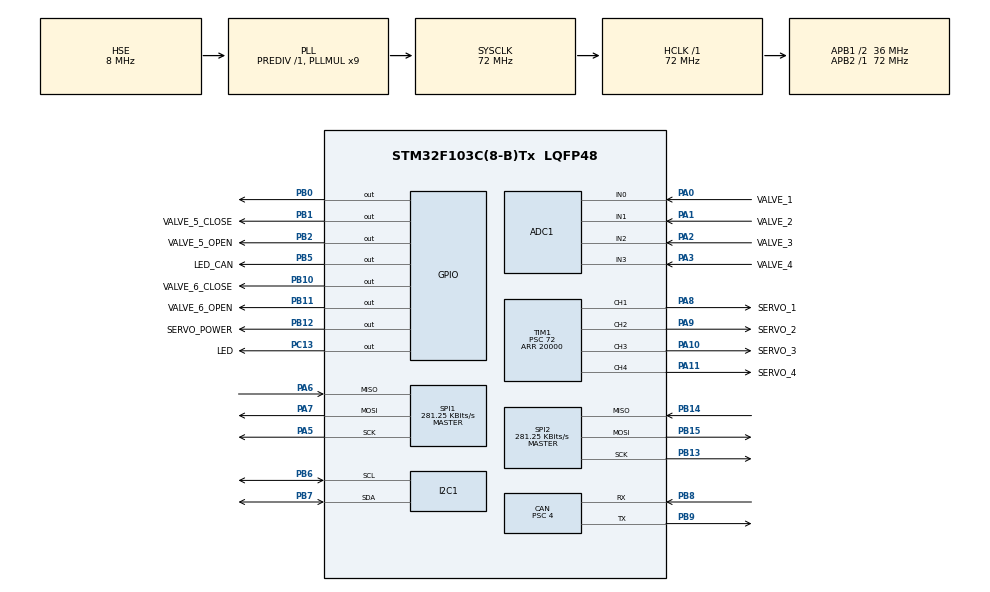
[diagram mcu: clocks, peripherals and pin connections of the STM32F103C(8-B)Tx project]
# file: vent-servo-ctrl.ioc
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ADC1.Channel-0\#ChannelRegularConversion=ADC_CHANNEL_0
ADC1.Channel-1\#ChannelRegularConversion=ADC_CHANNEL_1
ADC1.Channel-2\#ChannelRegularConversion=ADC_CHANNEL_2
ADC1.Channel-3\#ChannelRegularConversion=ADC_CHANNEL_3
ADC1.Channel-5\#ChannelRegularConversion=ADC_CHANNEL_TEMPSENSOR
ADC1.Channel-6\#ChannelRegularConversion=ADC_CHANNEL_VREFINT
ADC1.ContinuousConvMode=ENABLE
ADC1.EnableAnalogWatchDog=false
ADC1.NbrOfConversion=6
ADC1.NbrOfConversionFlag=1
ADC1.Rank-0\#ChannelRegularConversion=1
ADC1.Rank-1\#ChannelRegularConversion=2
ADC1.Rank-2\#ChannelRegularConversion=3
ADC1.Rank-3\#ChannelRegularConversion=4
ADC1.Rank-5\#ChannelRegularConversion=5
ADC1.Rank-6\#ChannelRegularConversion=6
ADC1.SamplingTime-0\#ChannelRegularConversion=ADC_SAMPLETIME_28CYCLES_5
ADC1.SamplingTime-1\#ChannelRegularConversion=ADC_SAMPLETIME_28CYCLES_5
ADC1.SamplingTime-2\#ChannelRegularConversion=ADC_SAMPLETIME_28CYCLES_5
ADC1.SamplingTime-3\#ChannelRegularConversion=ADC_SAMPLETIME_239CYCLES_5
ADC1.SamplingTime-5\#ChannelRegularConversion=ADC_SAMPLETIME_239CYCLES_5
ADC1.SamplingTime-6\#ChannelRegularConversion=ADC_SAMPLETIME_239CYCLES_5
ADC1.master=1
CAN.BS1=CAN_BS1_15TQ
CAN.BS2=CAN_BS2_2TQ
CAN.CalculateBaudRate=500000
CAN.CalculateTimeBit=2000
CAN.CalculateTimeQuantum=111.11111111111111
CAN.Prescaler=4
Dma.ADC1.0.Direction=DMA_PERIPH_TO_MEMORY
Dma.ADC1.0.Instance=DMA1_Channel1
Dma.ADC1.0.MemDataAlignment=DMA_MDATAALIGN_HALFWORD
Dma.ADC1.0.MemInc=DMA_MINC_ENABLE
Dma.ADC1.0.Mode=DMA_CIRCULAR
Dma.ADC1.0.PeriphDataAlignment=DMA_PDATAALIGN_HALFWORD
Dma.ADC1.0.PeriphInc=DMA_PINC_DISABLE
Dma.ADC1.0.Priority=DMA_PRIORITY_HIGH
Dma.Request0=ADC1
IWDG.Prescaler=IWDG_PRESCALER_32
Mcu.Family=STM32F1
Mcu.Name=STM32F103C(8-B)Tx
Mcu.Package=LQFP48
NVIC.DMA1_Channel1_IRQn=true\:0\:0\:false\:false\:true\:false\:true\:true
NVIC.I2C1_EV_IRQn=true\:0\:0\:false\:false\:true\:true\:true\:true
NVIC.PriorityGroup=NVIC_PRIORITYGROUP_4
NVIC.USB_LP_CAN1_RX0_IRQn=true\:0\:0\:false\:false\:true\:true\:true\:true
PA0-WKUP.GPIO_Label=VALVE_1
PA0-WKUP.Signal=ADCx_IN0
PA1.GPIO_Label=VALVE_2
PA1.Signal=ADCx_IN1
PA10.GPIO_Label=SERVO_3
PA10.GPIO_Speed=GPIO_SPEED_FREQ_HIGH
PA10.Signal=S_TIM1_CH3
PA11.GPIO_Label=SERVO_4
PA11.GPIO_Speed=GPIO_SPEED_FREQ_HIGH
PA11.Signal=S_TIM1_CH4
PA13.Mode=Serial_Wire
PA13.Signal=SYS_JTMS-SWDIO
PA14.Mode=Serial_Wire
PA14.Signal=SYS_JTCK-SWCLK
PA2.GPIO_Label=VALVE_3
PA2.Signal=ADCx_IN2
PA3.GPIO_Label=VALVE_4
PA3.Signal=ADCx_IN3
PA5.Mode=Full_Duplex_Master
PA5.Signal=SPI1_SCK
PA6.Mode=Full_Duplex_Master
PA6.Signal=SPI1_MISO
PA7.Mode=Full_Duplex_Master
PA7.Signal=SPI1_MOSI
PA8.GPIO_Label=SERVO_1
PA8.GPIO_Speed=GPIO_SPEED_FREQ_HIGH
PA8.Signal=S_TIM1_CH1
PA9.GPIO_Label=SERVO_2
PA9.GPIO_Speed=GPIO_SPEED_FREQ_HIGH
PA9.Signal=S_TIM1_CH2
PB0.Signal=GPIO_Output
PB1.GPIO_Label=VALVE_5_CLOSE
PB1.Signal=GPIO_Output
PB10.GPIO_Label=VALVE_6_CLOSE
PB10.Signal=GPIO_Output
PB11.GPIO_Label=VALVE_6_OPEN
PB11.Signal=GPIO_Output
PB12.GPIO_Label=SERVO_POWER
PB12.Signal=GPIO_Output
PB13.Mode=Full_Duplex_Master
PB13.Signal=SPI2_SCK
PB14.Mode=Full_Duplex_Master
PB14.Signal=SPI2_MISO
PB15.Mode=Full_Duplex_Master
PB15.Signal=SPI2_MOSI
PB2.GPIO_Label=VALVE_5_OPEN
PB2.Signal=GPIO_Output
PB5.GPIO_Label=LED_CAN
PB5.Signal=GPIO_Output
PB6.Mode=I2C
PB6.Signal=I2C1_SCL
PB7.Mode=I2C
PB7.Signal=I2C1_SDA
PB8.Mode=CAN_Activate
PB8.Signal=CAN_RX
PB9.Mode=CAN_Activate
PB9.Signal=CAN_TX
PC13-TAMPER-RTC.GPIO_Label=LED
PC13-TAMPER-RTC.Signal=GPIO_Output
PC14-OSC32_IN.Mode=LSE-External-Oscillator
PC14-OSC32_IN.Signal=RCC_OSC32_IN
PC15-OSC32_OUT.Mode=LSE-External-Oscillator
PC15-OSC32_OUT.Signal=RCC_OSC32_OUT
PD0-OSC_IN.Mode=HSE-External-Oscillator
PD0-OSC_IN.Signal=RCC_OSC_IN
PD1-OSC_OUT.Mode=HSE-External-Oscillator
PD1-OSC_OUT.Signal=RCC_OSC_OUT
ProjectManager.HeapSize=0x200
ProjectManager.StackSize=0x400
ProjectManager.TargetToolchain=STM32CubeIDE
RCC.ADCPresc=RCC_ADCPCLK2_DIV6
RCC.AHBFreq_Value=72000000
RCC.APB1CLKDivider=RCC_HCLK_DIV2
RCC.APB1Freq_Value=36000000
RCC.APB1TimFreq_Value=72000000
RCC.APB2Freq_Value=72000000
RCC.APB2TimFreq_Value=72000000
RCC.HCLKFreq_Value=72000000
RCC.PLLMUL=RCC_PLL_MUL9
RCC.PLLSourceVirtual=RCC_PLLSOURCE_HSE
RCC.SYSCLKFreq_VALUE=72000000
RCC.SYSCLKSource=RCC_SYSCLKSOURCE_PLLCLK
RCC.USBFreq_Value=72000000
SH.ADCx_IN0.0=ADC1_IN0,IN0
SH.ADCx_IN1.0=ADC1_IN1,IN1
SH.ADCx_IN2.0=ADC1_IN2,IN2
SH.ADCx_IN3.0=ADC1_IN3,IN3
SH.S_TIM1_CH1.0=TIM1_CH1,PWM Generation1 CH1
SH.S_TIM1_CH2.0=TIM1_CH2,PWM Generation2 CH2
SH.S_TIM1_CH3.0=TIM1_CH3,PWM Generation3 CH3
SH.S_TIM1_CH4.0=TIM1_CH4,PWM Generation4 CH4
SPI1.BaudRatePrescaler=SPI_BAUDRATEPRESCALER_256
SPI1.CalculateBaudRate=281.25 KBits/s
SPI1.Direction=SPI_DIRECTION_2LINES
SPI1.Mode=SPI_MODE_MASTER
SPI1.VirtualType=VM_MASTER
SPI2.BaudRatePrescaler=SPI_BAUDRATEPRESCALER_128
SPI2.CalculateBaudRate=281.25 KBits/s
SPI2.Direction=SPI_DIRECTION_2LINES
SPI2.Mode=SPI_MODE_MASTER
SPI2.VirtualType=VM_MASTER
TIM1.Channel-PWM\ Generation1\ CH1=TIM_CHANNEL_1
TIM1.Channel-PWM\ Generation2\ CH2=TIM_CHANNEL_2
TIM1.Channel-PWM\ Generation3\ CH3=TIM_CHANNEL_3
TIM1.Channel-PWM\ Generation4\ CH4=TIM_CHANNEL_4
TIM1.Period=20000
TIM1.Prescaler=72
VP_ADC1_TempSens_Input.Mode=IN-TempSens
VP_ADC1_Vref_Input.Mode=IN-Vrefint
VP_CRC_VS_CRC.Mode=CRC_Activate
VP_IWDG_VS_IWDG.Mode=IWDG_Activate
VP_TIM1_VS_ClockSourceINT.Mode=Internal
board=custom

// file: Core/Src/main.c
/* USER CODE BEGIN Header */
/**
  ******************************************************************************
  * @file           : main.c
  * @brief          : Main program body
  ******************************************************************************
  * @attention
  *
  * Copyright (c) 2026 STMicroelectronics.
  * All rights reserved.
  *
  * This software is licensed under terms that can be found in the LICENSE file
  * in the root directory of this software component.
  * If no LICENSE file comes with this software, it is provided AS-IS.
  *
  ******************************************************************************
  */
/* USER CODE END Header */
#include "main.h"
#include "adc.h"
#include "can.h"
#include "crc.h"
#include "dma.h"
#include "i2c.h"
#include "iwdg.h"
#include "spi.h"
#include "tim.h"
#include "gpio.h"

/* USER CODE BEGIN PV */
const meta_data_t __attribute__((section(".boot_vers_sec"))) bootloader_version;
const meta_data_t __attribute__((section(".app_vers_sec"))) application_version =
{
    .version = VERSION_FULL_STRING,
    .build_date = BUILD_DATE,
    //.target_cpu = CPU,
    .crc = UINT32_MAX
};

               __attribute__((section(".calib_ram_sec")))   param_t param;
volatile const __attribute__((section(".calib_flash_sec"))) param_t param_flash;
const param_t param_def =
{
    .common.crc = 0,
    .common.size = sizeof(common_param_t),
    .common.xcp_canid_rx = XCP_BASE_ID,
    .common.xcp_canid_tx = XCP_BASE_ID + 1,
    .common.uds_canid_rx = 0,
    .common.uds_canid_func = 0,
    .common.uds_canid_tx = 0,
    .common.ip_mac = {},
    .common.ip_v4 = {},
    .common.ip_port_xcp = 0,
    .common.id = 0,

    .crc = 0,
    .size = sizeof(param_t) - sizeof(common_param_t),
    .servo_close_us = {1000, 1000, 1000, 1000, 1000, 1000, 1000, 1000},
    .servo_open_us = {2000, 2000, 2000, 2000, 2000, 2000, 2000, 2000},
    .servo_power_time_us = 5000,
    .valve_active_time_us = 30000,
    .ina219_config = (INA219_CONFIG_BVOLTAGERANGE_32V | INA219_CONFIG_GAIN_1_320MV | INA219_CONFIG_BADCRES_12BIT_64S | INA219_CONFIG_SADCRES_12BIT_64S | INA219_CONFIG_MODE_CONTINUOUS),
    .reserve_1 = 0,
    .r_shunt = 0.1f,
};

uint32_t xcp_base_id = XCP_BASE_ID;
uint16_t config_number = 0;
extern uint32_t xcp_can_is_active;

extern uint32_t _start_calib_ram[];
extern uint32_t _end_calib_ram[];
extern t_xcp_download_cb update_values;

volatile t_can_node_valves_bus0_input can_in;
volatile t_can_node_valves_bus0_output can_out;

INA219_HandleTypeDef ina219;

uint32_t led_can_ts = 0;
GPIO_PinState led_can_z1 = 0;

var_t __attribute__((section(".var_ram_sec"))) v;
/* USER CODE END PV */

void SystemClock_Config(void);
/* USER CODE BEGIN PFP */
void try_read_xcp_id(void);
void load_param(void);
void update_param_crc(uint32_t address);

void deinit_perif(void) {};

uint32_t get_servo_us(uint32_t position, uint32_t closed, uint32_t opened);
/* USER CODE END PFP */

/* USER CODE BEGIN 0 */
uint32_t decode_analog_key(uint32_t value)
{
    if(value < ANALOG_KEY_OC) return CAN_SIGNAL_VALVE_1_OPENCIRCUIT;
    else if(value < ANALOG_KEY_CLOSE) return CAN_SIGNAL_VALVE_1_CLOSED;
    else if(value < ANALOG_KEY_OPEN) return CAN_SIGNAL_VALVE_1_OPENED;
    else if(value < ANALOG_KEY_MIDDLE) return CAN_SIGNAL_VALVE_1_PARTIALLY;
    else return CAN_SIGNAL_VALVE_1_SHORTCIRCUIT;
}

void can_node_valve_status_cb(uint32_t id, uint64_t msg, uint32_t dlc)
{
    can_out.VALVE_STATUS.CPU_TEMP = roundf(v.CPU_temp);
    can_out.VALVE_STATUS.V_3V3 = v.VCC;

    can_out.VALVE_STATUS.VALVE_1 = decode_analog_key(v.ADC[ADC_CH_0]);
    can_out.VALVE_STATUS.VALVE_2 = decode_analog_key(v.ADC[ADC_CH_1]);
    can_out.VALVE_STATUS.VALVE_3 = decode_analog_key(v.ADC[ADC_CH_2]);
    can_out.VALVE_STATUS.VALVE_4 = decode_analog_key(v.ADC[ADC_CH_3]);
}

void can_node_power_status_cb(uint32_t id, uint64_t msg, uint32_t dlc)
{
    can_out.POWER_STATUS.V_12V = v.voltage;
    can_out.POWER_STATUS.I_12V = v.current;
    can_out.POWER_STATUS.P_12V = v.power;
}

void can_node_ctrl_to_valve_cb(uint32_t id, uint64_t msg, uint32_t dlc)
{
    uint16_t servo_us[4];
    servo_us[0] = get_servo_us(can_in.CTRL_VALVE.VALVE_1_REQ, param.servo_close_us[0], param.servo_open_us[0]);
    servo_us[1] = get_servo_us(can_in.CTRL_VALVE.VALVE_2_REQ, param.servo_close_us[1], param.servo_open_us[1]);
    servo_us[2] = get_servo_us(can_in.CTRL_VALVE.VALVE_3_REQ, param.servo_close_us[2], param.servo_open_us[2]);
    servo_us[3] = get_servo_us(can_in.CTRL_VALVE.VALVE_4_REQ, param.servo_close_us[3], param.servo_open_us[3]);

    if(v.servo_us[0] != servo_us[0] || v.servo_us[1] != servo_us[1] || v.servo_us[2] != servo_us[2] || v.servo_us[3] != servo_us[3])
    {
        v.is_servo_power_on = GPIO_PIN_SET;
        v.time_change_position = HAL_GetTick();
        v.servo_us[0] = servo_us[0];
        v.servo_us[1] = servo_us[1];
        v.servo_us[2] = servo_us[2];
        v.servo_us[3] = servo_us[3];
    }

    htim1.Instance->CCR1 = v.servo_us[0];
    htim1.Instance->CCR2 = v.servo_us[1];
    htim1.Instance->CCR3 = v.servo_us[2];
    htim1.Instance->CCR4 = v.servo_us[3];

}

void HAL_CAN_RxFifo0MsgPendingCallback(CAN_HandleTypeDef *hcan)
{
    CAN_RxHeaderTypeDef rx_header;
    uint8_t data[8];

    if(HAL_CAN_GetRxMessage(hcan, CAN_RX_FIFO0, &rx_header, data) != HAL_OK) return;

    platform_can_msg_recieve(0, &rx_header, data);
    HAL_GPIO_WritePin(LED_CAN_GPIO_Port, LED_CAN_Pin, GPIO_PIN_SET);
}

void HAL_CAN_RxFifo0FullCallback(CAN_HandleTypeDef *hcan)
{
    HAL_CAN_RxFifo0MsgPendingCallback(hcan);
}

void HAL_CAN_ErrorCallback(CAN_HandleTypeDef *hcan)
{
    return;
}

uint32_t get_servo_us(uint32_t position, uint32_t closed, uint32_t opened)
{
    uint32_t range = 0;
    uint32_t shift = closed;

    position = CLIPH(position, CAN_SIGNAL_VALVE_1_REQ_MAX);
    if(closed <= opened)
    {
        range = opened - closed;
    }
    else // Inverse
    {
        range = closed - opened;
        shift = opened;
        position = CAN_SIGNAL_VALVE_1_REQ_MAX - position;
    }
    return shift + position * range / CAN_SIGNAL_VALVE_1_REQ_MAX;
}
/* USER CODE END 0 */

int main(void)
{

  /* USER CODE BEGIN 1 */
    memset(&v, 0 , sizeof(v));
    memset(&_start_calib_ram, 0xFF , SECTOR_SIZE);
  /* USER CODE END 1 */

  /* MCU Configuration--------------------------------------------------------*/

  /* Reset of all peripherals, Initializes the Flash interface and the Systick. */
  HAL_Init();

  /* Configure the system clock */
  SystemClock_Config();

  /* Initialize all configured peripherals */
  MX_GPIO_Init();
  MX_DMA_Init();
  MX_CAN_Init();
  MX_ADC1_Init();
  MX_CRC_Init();
  MX_IWDG_Init();
  MX_SPI2_Init();
  MX_TIM1_Init();
  MX_I2C1_Init();
  MX_SPI1_Init();
  /* USER CODE BEGIN 2 */

  platform_can_init();

  load_param();
  try_read_xcp_id();

  xcp_can_init(0, 0, xcp_base_id);

  update_values = update_param_crc;

  can_node_valves_bus0_init(xcp_used_mbxs(), 0, 0, &can_out, &can_in);
  HAL_TIM_PWM_Start(&htim1, TIM_CHANNEL_1);
  HAL_TIM_PWM_Start(&htim1, TIM_CHANNEL_2);
  HAL_TIM_PWM_Start(&htim1, TIM_CHANNEL_3);
  HAL_TIM_PWM_Start(&htim1, TIM_CHANNEL_4);

  __enable_irq();

  ADC_Start();

  if (INA219_Init(&ina219, &hi2c1, INA219_ADDRESS, param.ina219_config) != HAL_OK)
  {
//     while(1);//TODO if INA not exist
  }

      // Калибровка под шунт 0.1 Ом и максимальный ток 2А
//  if (INA219_Calibrate(&ina219, param.r_shunt, 3.2768f) != HAL_OK)
//  {
//     while(1);
//  }
  /* USER CODE END 2 */

  /* Infinite loop */
  /* USER CODE BEGIN WHILE */
  while (1)
  {
    xcp_can_poll();
    can_node_valves_bus0_rx(&can_in);

    // Базовые измерения
    v.VCC = Calculate_VDD(v.ADC[ADC_VCC]);
    v.CPU_temp = Calculate_Temperature(v.ADC[ADC_TEMP], v.VCC);

    // Управление питанием сервоприводов
    if(v.is_servo_power_on == GPIO_PIN_SET)
    {
        if((HAL_GetTick() - v.time_change_position) > param.servo_power_time_us)
        {
            v.is_servo_power_on = GPIO_PIN_RESET;
        }
        HAL_GPIO_WritePin(SERVO_POWER_GPIO_Port, SERVO_POWER_Pin, v.is_servo_power_on);
    }

    INA219_ReadAndCulcAll(&ina219, &v.voltage, &v.current, &v.power, param.r_shunt);

    can_node_valves_bus0_tx(&can_out);
    /* USER CODE END WHILE */

    /* USER CODE BEGIN 3 */
    if(v.update_boot == 1)
    {
        set_flash_bootloader();
        v.update_boot = 2;
    }

    // Board LED
    uint32_t tick = HAL_GetTick() % 500;
    if(tick < 100)
    {
      HAL_GPIO_WritePin(LED_GPIO_Port, LED_Pin, GPIO_PIN_RESET);
    }
    else if(xcp_can_is_active && tick >= 200 && tick < 300)
    {
      HAL_GPIO_WritePin(LED_GPIO_Port, LED_Pin, GPIO_PIN_RESET);
    }
    else
    {
      HAL_GPIO_WritePin(LED_GPIO_Port, LED_Pin, GPIO_PIN_SET);
    }

    // CAN LED
    if(HAL_GPIO_ReadPin(LED_CAN_GPIO_Port, LED_CAN_Pin) == GPIO_PIN_SET)
    {
        if(led_can_z1 == GPIO_PIN_RESET)
        {
            led_can_z1 = GPIO_PIN_SET;
            led_can_ts = HAL_GetTick();
        }
        else if(HAL_GetTick() - led_can_ts > 3)
        {
            HAL_GPIO_WritePin(LED_CAN_GPIO_Port, LED_CAN_Pin, GPIO_PIN_RESET);
            led_can_z1 = GPIO_PIN_RESET;
            led_can_ts = HAL_GetTick();
        }
    }

    HAL_IWDG_Refresh(&hiwdg);
  }
  /* USER CODE END 3 */
}

void SystemClock_Config(void)
{
  RCC_OscInitTypeDef RCC_OscInitStruct = {0};
  RCC_ClkInitTypeDef RCC_ClkInitStruct = {0};
  RCC_PeriphCLKInitTypeDef PeriphClkInit = {0};

  /** Initializes the RCC Oscillators according to the specified parameters
  * in the RCC_OscInitTypeDef structure.
  */
  RCC_OscInitStruct.OscillatorType = RCC_OSCILLATORTYPE_LSI|RCC_OSCILLATORTYPE_HSE;
  RCC_OscInitStruct.HSEState = RCC_HSE_ON;
  RCC_OscInitStruct.HSEPredivValue = RCC_HSE_PREDIV_DIV1;
  RCC_OscInitStruct.HSIState = RCC_HSI_ON;
  RCC_OscInitStruct.LSIState = RCC_LSI_ON;
  RCC_OscInitStruct.PLL.PLLState = RCC_PLL_ON;
  RCC_OscInitStruct.PLL.PLLSource = RCC_PLLSOURCE_HSE;
  RCC_OscInitStruct.PLL.PLLMUL = RCC_PLL_MUL9;
  if (HAL_RCC_OscConfig(&RCC_OscInitStruct) != HAL_OK)
  {
    Error_Handler();
  }

  /** Initializes the CPU, AHB and APB buses clocks
  */
  RCC_ClkInitStruct.ClockType = RCC_CLOCKTYPE_HCLK|RCC_CLOCKTYPE_SYSCLK
                              |RCC_CLOCKTYPE_PCLK1|RCC_CLOCKTYPE_PCLK2;
  RCC_ClkInitStruct.SYSCLKSource = RCC_SYSCLKSOURCE_PLLCLK;
  RCC_ClkInitStruct.AHBCLKDivider = RCC_SYSCLK_DIV1;
  RCC_ClkInitStruct.APB1CLKDivider = RCC_HCLK_DIV2;
  RCC_ClkInitStruct.APB2CLKDivider = RCC_HCLK_DIV1;

  if (HAL_RCC_ClockConfig(&RCC_ClkInitStruct, FLASH_LATENCY_2) != HAL_OK)
  {
    Error_Handler();
  }
  PeriphClkInit.PeriphClockSelection = RCC_PERIPHCLK_ADC;
  PeriphClkInit.AdcClockSelection = RCC_ADCPCLK2_DIV6;
  if (HAL_RCCEx_PeriphCLKConfig(&PeriphClkInit) != HAL_OK)
  {
    Error_Handler();
  }
}

/* USER CODE BEGIN 4 */
void try_read_xcp_id(void)
{
    if(param.common.xcp_canid_tx == param.common.xcp_canid_rx + 1 && param.common.xcp_canid_rx != 0xFFFFFFFF)
    {
        xcp_base_id = param.common.xcp_canid_rx;
    }
    else
    {
        xcp_base_id += config_number * 2;
    }
}

void load_param(void)
{
    static_assert(sizeof(common_param_t) == COMMON_PARAM_SIZE, "Size of common param must be 64");
    uint32_t crc = 0;

    // Load defaul params
    memcpy(&param, &param_def, sizeof(param_t));

    //Check saved common.params and load
    if(param_flash.common.size <= (SECTORS_FOR_PARAM * SECTOR_SIZE) && (param_flash.common.size != 0) && (param_flash.common.size % 4 == 0))
    {
        crc = HAL_CRC_Calculate(&hcrc, (uint32_t*)&param_flash.common.size, param_flash.common.size / 4 - 1);
        if(param_flash.common.crc == crc)
        {
            if(param_flash.size <= (SECTORS_FOR_PARAM * SECTOR_SIZE) && (param_flash.size != 0) && (param_flash.size % 4 == 0))
            {
                crc = HAL_CRC_Calculate(&hcrc, (uint32_t*)&param_flash.size, param_flash.size / 4 - 1);
                if(param_flash.crc == crc)
                {
                    memcpy(&param, (const void *)&param_flash, param_flash.common.size + param_flash.size);
                }
            }
        }
    }

    //Recalculate CRC
    param.common.crc = HAL_CRC_Calculate(&hcrc, (uint32_t*)&param.common.size, param.common.size / 4 - 1);

    param.size = param_def.size;
    param.crc = HAL_CRC_Calculate(&hcrc, (uint32_t*)&param.size, param.size / 4 - 1);
}

void update_param_crc(uint32_t address)
{
    if(address >= (uint32_t)&param.common && address < (uint32_t)&param.common + sizeof(common_param_t))
    {
        param.common.crc = HAL_CRC_Calculate(&hcrc, (uint32_t*)&param.common.size, param.common.size / 4 - 1);
    }

    if(address >= (uint32_t)&param.crc && address < (uint32_t)&param + sizeof(param_t))
    {
        param.crc = HAL_CRC_Calculate(&hcrc, (uint32_t*)&param.size, param.size / 4 - 1);
    }
}
/* USER CODE END 4 */

void Error_Handler(void)
{
  __disable_irq();
  while (1)
  {
  }
}
